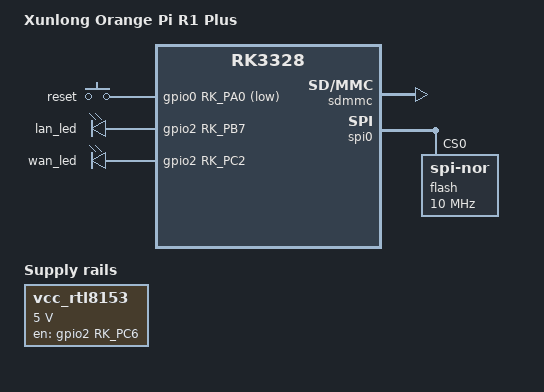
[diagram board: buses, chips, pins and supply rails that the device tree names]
// SPDX-License-Identifier: (GPL-2.0+ OR MIT)
/*
 * Copyright (c) 2019 FriendlyElec Computer Tech. Co., Ltd.
 * (http://www.friendlyarm.com)
 */

/dts-v1/;
#include <dt-bindings/input/linux-event-codes.h>
#include "rk3328-orangepi-r1-plus-common.dtsi"

/ {
	model = "Xunlong Orange Pi R1 Plus";
	compatible = "rockchip,rk3328";

	gpio-keys {
		compatible = "gpio-keys";
		#address-cells = <1>;
		#size-cells = <0>;
		autorepeat;

		pinctrl-names = "default";
		pinctrl-0 = <&gpio_key1>;

		button@0 {
			gpios = <&gpio0 RK_PA0 GPIO_ACTIVE_LOW>;
			label = "reset";
			linux,code = <BTN_1>;
			linux,input-type = <1>;
			gpio-key,wakeup = <1>;
			debounce-interval = <100>;
		};
	};

	vcc_rtl8153: vcc-rtl8153-regulator {
		compatible = "regulator-fixed";
		gpio = <&gpio2 RK_PC6 GPIO_ACTIVE_HIGH>;
		pinctrl-names = "default";
		pinctrl-0 = <&usb30_en_drv>;
		regulator-always-on;
		regulator-name = "vcc_rtl8153";
		regulator-min-microvolt = <5000000>;
		regulator-max-microvolt = <5000000>;
		off-on-delay-us = <5000>;
		enable-active-high;
	};
};

&mach {
    hwrev = <2>;
    machine = "ORANGEPI-R1PLUS";
    model = "OrangePi R1PLUS";
};


&emmc {
	status = "disabled";
};

&leds {
	status = "okay";

	led@2 {
		gpios = <&gpio2 RK_PB7 GPIO_ACTIVE_HIGH>;
		label = "lan_led";
	};

	led@3 {
		gpios = <&gpio2 RK_PC2 GPIO_ACTIVE_HIGH>;
		label = "wan_led";
		linux,default-trigger = "stmmac-0:00:link";
	};
};

&rk805 {
	interrupt-parent = <&gpio1>;
	interrupts = <RK_PD0 IRQ_TYPE_LEVEL_LOW>;
};

&vccio_sd {
	status = "okay";
};

&io_domains {
	vccio3-supply = <&vccio_sd>;
};

&sdmmc {
	vqmmc-supply = <&vccio_sd>;
	max-frequency = <150000000>;
	//sd-uhs-sdr50;
	//sd-uhs-sdr104;
	status = "okay";
};

&sdmmc_ext {
	status = "disabled";
};

&sdio_pwrseq {
	status = "disabled";
};

&spi0 {
    max-freq = <48000000>;
    status = "okay";

    flash@0 {
        compatible = "jedec,spi-nor";
        reg = <0>;
        spi-max-frequency = <10000000>;
    };
};

&pinctrl {
	pmic {
		pmic_int_l: pmic-int-l {
			rockchip,pins = <1 RK_PD0 RK_FUNC_GPIO &pcfg_pull_up>;
		};
	};

	rockchip-key {
		gpio_key1: gpio-key1 {
			rockchip,pins = <0 RK_PA0 RK_FUNC_GPIO &pcfg_pull_none>;
		};
	};

	usb {
		otg_vbus_drv: otg-vbus-drv {
			rockchip,pins = <1 RK_PD2 RK_FUNC_GPIO &pcfg_pull_none>;
		};

		usb30_en_drv: usb30-en-drv {
			rockchip,pins = <2 RK_PC6 RK_FUNC_GPIO &pcfg_pull_none>;
		};
	};
};
